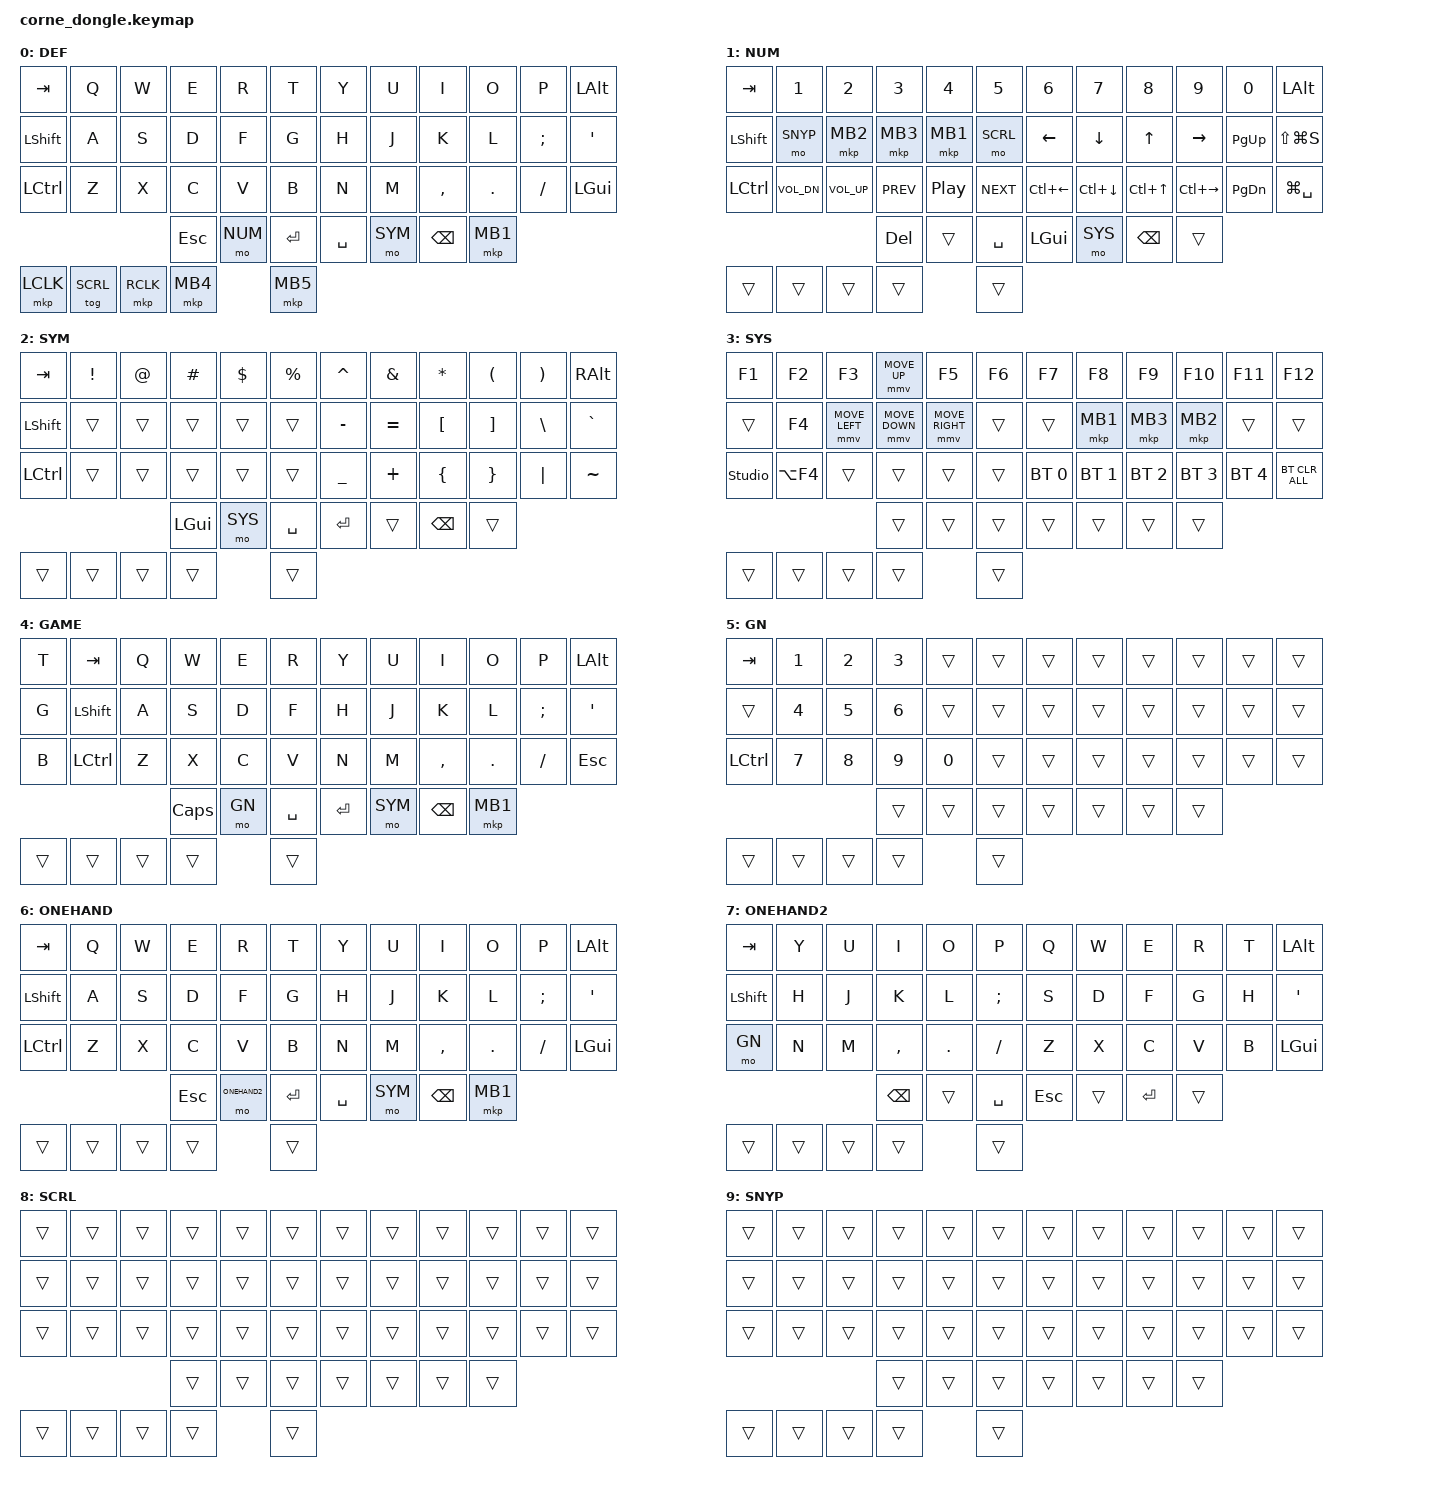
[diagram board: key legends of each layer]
/*
 * Copyright (c) 2020 The ZMK Contributors
 *
 * SPDX-License-Identifier: MIT
 */

#include <behaviors.dtsi>
#include <dt-bindings/zmk/bt.h>
#include <dt-bindings/zmk/keys.h>
#include <dt-bindings/zmk/pointing.h>
#include <input/processors.dtsi>

// Layer Definitions
#define DEF 0
#define NUM 1
#define SYM 2
#define SYS 3
#define GAME 4
#define GN 5
#define ONEHAND 6
#define ONEHAND2 7
#define SCRL 8
#define SNYP 9

// Sensor modes (the sensor is on the dongle, see corne_dongle.overlay).
// Pointer moves normally on every other layer.
// - SCRL: motion scrolls. Toggle with the middle dongle button, or hold it from NUM.
//   Raise the divisor (16) for slower scrolling, lower it for faster.
// - SNYP: precision mode, pointer at 1/3 speed. Hold it from NUM.
&trackball_listener {
    scroller {
        layers = <SCRL>;
        input-processors = <&zip_xy_to_scroll_mapper &zip_scroll_scaler 1 16>;
    };

    snipe {
        layers = <SNYP>;
        input-processors = <&zip_xy_scaler 1 3>;
    };
};

/ {
  macros {
    screenshot_mac_4: screenshot_mac_4 {
      compatible = "zmk,behavior-macro";
      #binding-cells = <0>;
      bindings = <&none>;
      label = "SCREENSHOT_MAC_4";
    };
  };

  combos {
    compatible = "zmk,combos";

    to_gaming {
      bindings = <&to GAME>;
      key-positions = <12 13 14>;
    };

    to_first {
      bindings = <&to DEF>;
      key-positions = <24 25 26>;
    };

    goto_onehand {
      bindings = <&to ONEHAND>;
      key-positions = <0 1 2>;
    };
  };

  // Last row in each layer = 5 dongle buttons:
  // | LCLK | SCRL toggle | RCLK | BACK (MB4) | FWD (MB5) |
  // The middle button toggles the scroll layer on/off (press again to go back).

  keymap {
    compatible = "zmk,keymap";

    DEF {
      display-name = "DEF";
      bindings = <
        &kp TAB       &kp Q  &kp W  &kp E     &kp R  &kp T      &kp Y      &kp U  &kp I      &kp O    &kp P     &kp LEFT_ALT
        &kp LSHFT     &kp A  &kp S  &kp D     &kp F  &kp G      &kp H      &kp J  &kp K      &kp L    &kp SEMI  &kp SQT
        &kp LCTRL     &kp Z  &kp X  &kp C     &kp V  &kp B      &kp N      &kp M  &kp COMMA  &kp DOT  &kp FSLH  &kp LGUI
                                    &kp ESC   &mo NUM &kp RET   &kp SPACE  &mo SYM &kp BSPC   &mkp MB1
        &mkp LCLK  &tog SCRL  &mkp RCLK  &mkp MB4  &mkp MB5
      >;
    };

    NUM {
      display-name = "NUM";
      bindings = <
        &kp TAB       &kp N1        &kp N2        &kp N3      &kp N4          &kp N5        &kp N6            &kp N7              &kp N8            &kp N9             &kp N0       &kp LEFT_ALT
        &kp LSHFT     &mo SNYP      &mkp MB2      &mkp MB3    &mkp MB1        &mo SCRL      &kp LEFT          &kp DOWN            &kp UP            &kp RIGHT          &kp PG_UP    &kp LS(LG(S))
        &kp LCTRL     &kp C_VOL_DN  &kp C_VOL_UP  &kp C_PREV  &kp C_PP        &kp C_NEXT    &kp LC(LEFT)      &kp LC(DOWN)        &kp LC(UP)        &kp LC(RIGHT)      &kp PG_DN    &kp LG(SPACE)
                                                  &kp DEL     &trans          &kp SPACE     &kp LEFT_GUI      &mo SYS             &kp BSPC          &trans
        &trans     &trans     &trans     &trans    &trans
      >;
    };

    SYM {
      display-name = "SYM";
      bindings = <
        &kp TAB       &kp EXCL  &kp AT  &kp HASH  &kp DLLR  &kp PRCNT    &kp CARET  &kp AMPS   &kp ASTRK  &kp LPAR  &kp RPAR  &kp RALT
        &kp LSHFT     &trans    &trans  &trans    &trans    &trans       &kp MINUS  &kp EQUAL  &kp LBKT   &kp RBKT  &kp BSLH  &kp GRAVE
        &kp LCTRL     &trans    &trans  &trans    &trans    &trans       &kp UNDER  &kp PLUS   &kp LBRC   &kp RBRC  &kp PIPE  &kp TILDE
                                        &kp LGUI  &mo SYS   &kp SPACE    &kp RET    &trans     &kp BSPC   &trans
        &trans     &trans     &trans     &trans    &trans
      >;
    };

    SYS {
      display-name = "SYS";
      bindings = <
        &kp F1  &kp F2      &kp F3          &mmv MOVE_UP    &kp F5           &kp F6     &kp F7        &kp F8        &kp F9        &kp F10       &kp F11       &kp F12
        &trans  &kp F4      &mmv MOVE_LEFT  &mmv MOVE_DOWN  &mmv MOVE_RIGHT  &trans     &trans        &mkp MB1      &mkp MB3      &mkp MB2      &trans        &trans
        &studio_unlock  &kp LA(F4)  &trans          &trans          &trans           &trans     &bt BT_SEL 0  &bt BT_SEL 1  &bt BT_SEL 2  &bt BT_SEL 3  &bt BT_SEL 4  &bt BT_CLR_ALL
                                            &trans          &trans           &trans     &trans        &trans        &trans        &trans
        &trans     &trans     &trans     &trans    &trans
      >;
    };

    GAME {
      display-name = "GAME";
      bindings = <
        &kp T  &kp TAB    &kp Q  &kp W     &kp E  &kp R      &kp Y    &kp U  &kp I      &kp O    &kp P     &kp LEFT_ALT
        &kp G  &kp LSHFT  &kp A  &kp S     &kp D  &kp F      &kp H    &kp J  &kp K      &kp L    &kp SEMI  &kp SQT
        &kp B  &kp LCTRL  &kp Z  &kp X     &kp C  &kp V      &kp N    &kp M  &kp COMMA  &kp DOT  &kp FSLH  &kp ESC
                                 &kp CAPS  &mo GN &kp SPACE  &kp RET  &mo SYM &kp BSPC   &mkp MB1
        &trans     &trans     &trans     &trans    &trans
      >;
    };

    GN {
      display-name = "GN";
      bindings = <
        &kp TAB    &kp N1  &kp N2  &kp N3  &trans  &trans    &trans  &trans  &trans  &trans  &trans  &trans
        &trans     &kp N4  &kp N5  &kp N6  &trans  &trans    &trans  &trans  &trans  &trans  &trans  &trans
        &kp LCTRL  &kp N7  &kp N8  &kp N9  &kp N0  &trans    &trans  &trans  &trans  &trans  &trans  &trans
                                   &trans  &trans  &trans    &trans  &trans  &trans  &trans
        &trans     &trans     &trans     &trans    &trans
      >;
    };

    ONEHAND {
      display-name = "ONEHAND";
      bindings = <
        &kp TAB    &kp Q  &kp W  &kp E     &kp R  &kp T      &kp Y      &kp U  &kp I      &kp O    &kp P     &kp LEFT_ALT
        &kp LSHFT  &kp A  &kp S  &kp D     &kp F  &kp G      &kp H      &kp J  &kp K      &kp L    &kp SEMI  &kp SQT
        &kp LCTRL  &kp Z  &kp X  &kp C     &kp V  &kp B      &kp N      &kp M  &kp COMMA  &kp DOT  &kp FSLH  &kp LGUI
                                 &kp ESC   &mo ONEHAND2 &kp RET &kp SPACE &mo SYM &kp BSPC &mkp MB1
        &trans     &trans     &trans     &trans    &trans
      >;
    };

    ONEHAND2 {
      display-name = "ONEHAND2";
      bindings = <
        &kp TAB    &kp Y  &kp U  &kp I      &kp O   &kp P      &kp Q    &kp W   &kp E     &kp R   &kp T   &kp LEFT_ALT
        &kp LSHFT  &kp H  &kp J  &kp K      &kp L   &kp SEMI   &kp S    &kp D   &kp F     &kp G   &kp H   &kp SQT
        &mo GN     &kp N  &kp M  &kp COMMA  &kp DOT &kp FSLH   &kp Z    &kp X   &kp C     &kp V   &kp B   &kp LGUI
                                 &kp BSPC   &trans  &kp SPACE  &kp ESC  &trans  &kp RET   &trans
        &trans     &trans     &trans     &trans    &trans
      >;
    };

    SCRL {
      display-name = "SCRL";
      bindings = <
        &trans  &trans  &trans  &trans  &trans  &trans    &trans  &trans  &trans  &trans  &trans  &trans
        &trans  &trans  &trans  &trans  &trans  &trans    &trans  &trans  &trans  &trans  &trans  &trans
        &trans  &trans  &trans  &trans  &trans  &trans    &trans  &trans  &trans  &trans  &trans  &trans
                                &trans  &trans  &trans    &trans  &trans  &trans  &trans
        &trans     &trans     &trans     &trans    &trans
      >;
    };

    SNYP {
      display-name = "SNYP";
      bindings = <
        &trans  &trans  &trans  &trans  &trans  &trans    &trans  &trans  &trans  &trans  &trans  &trans
        &trans  &trans  &trans  &trans  &trans  &trans    &trans  &trans  &trans  &trans  &trans  &trans
        &trans  &trans  &trans  &trans  &trans  &trans    &trans  &trans  &trans  &trans  &trans  &trans
                                &trans  &trans  &trans    &trans  &trans  &trans  &trans
        &trans     &trans     &trans     &trans    &trans
      >;
    };
  };
};
